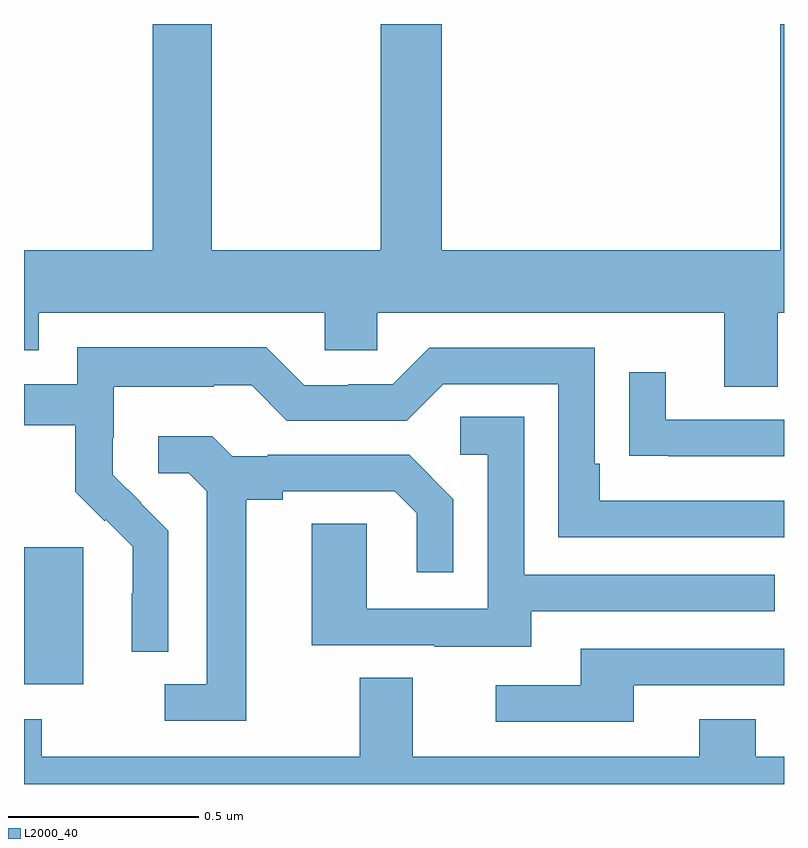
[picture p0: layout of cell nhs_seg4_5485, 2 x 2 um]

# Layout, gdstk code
import gdstk
lib = gdstk.Library(unit=1e-6, precision=1e-09)
def R(c, l, rs):  # rectangles x0, y0, x1, y1
    for r in rs: c.add(gdstk.rectangle(r[:2], r[2:], *l))
def P(c, l, *ps):  # polygons
    for p in ps: c.add(gdstk.Polygon(p, *l))
L2000_40 = (2000, 40)

nhs_seg4_5485 = lib.new_cell('nhs_seg4_5485')
R(nhs_seg4_5485, L2000_40, [(178,809.162,178.156,809.523)])
P(nhs_seg4_5485, L2000_40, [(179.983,810.14),(180,810.14),(180,810.9),(179.99,810.9),(179.99,810.304),(179.099,810.304),(179.099,810.9),(178.939,810.9),(178.939,810.304),(178.494,810.304),(178.494,810.9),(178.339,810.9),(178.339,810.304),(178,810.304),(178,810.041),(178.039,810.041),(178.039,810.14),(178.791,810.14),(178.791,810.042),(178.929,810.042),(178.929,810.14),(179.843,810.14),(179.843,809.946),(179.983,809.946)],
  [(178.38,809.566),(178.307,809.639),(178.308,809.64),(178.234,809.714),(178.234,809.811),(178.236,809.811),(178.236,809.945),(178.499,809.945),(178.499,809.949),(178.599,809.949),(178.692,809.856),(179.007,809.856),(179.103,809.952),(179.406,809.952),(179.406,809.55),(180,809.55),(180,809.646),(179.515,809.646),(179.515,809.743),(179.502,809.743),(179.502,810.048),(179.067,810.048),(178.971,809.952),(178.853,809.952),(178.853,809.949),(178.737,809.949),(178.637,810.049),(178.14,810.049),(178.14,809.952),(178,809.952),(178,809.844),(178.135,809.844),(178.135,809.669),(178.212,809.592),(178.215,809.595),(178.286,809.525),(178.286,809.402),(178.284,809.402),(178.284,809.248),(178.38,809.248)],
  [(180,809.859),(179.689,809.859),(179.689,809.983),(179.593,809.983),(179.593,809.764),(179.695,809.764),(179.695,809.763),(180,809.763)],
  [(179.335,809.355),(179.975,809.355),(179.975,809.451),(179.316,809.451),(179.316,809.867),(179.148,809.867),(179.148,809.766),(179.22,809.766),(179.22,809.361),(178.902,809.361),(178.902,809.585),(178.757,809.585),(178.757,809.265),(179.081,809.265),(179.081,809.261),(179.335,809.261)],
  [(178.585,809.648),(178.681,809.648),(178.681,809.67),(178.976,809.67),(179.033,809.613),(179.033,809.457),(179.13,809.457),(179.13,809.65),(179.014,809.766),(178.642,809.766),(178.642,809.763),(178.548,809.763),(178.496,809.815),(178.353,809.815),(178.353,809.718),(178.434,809.718),(178.481,809.671),(178.481,809.163),(178.371,809.163),(178.371,809.067),(178.585,809.067)],
  [(179.605,809.16),(180,809.16),(180,809.256),(179.465,809.256),(179.465,809.16),(179.241,809.16),(179.241,809.064),(179.605,809.064)],
  [(180,808.972),(179.925,808.972),(179.925,809.071),(179.777,809.071),(179.777,808.972),(179.023,808.972),(179.023,809.18),(178.883,809.18),(178.883,808.972),(178.047,808.972),(178.047,809.071),(178,809.071),(178,808.9),(180,808.9)])

lib.write_gds('nhs_seg4_5485.gds')
